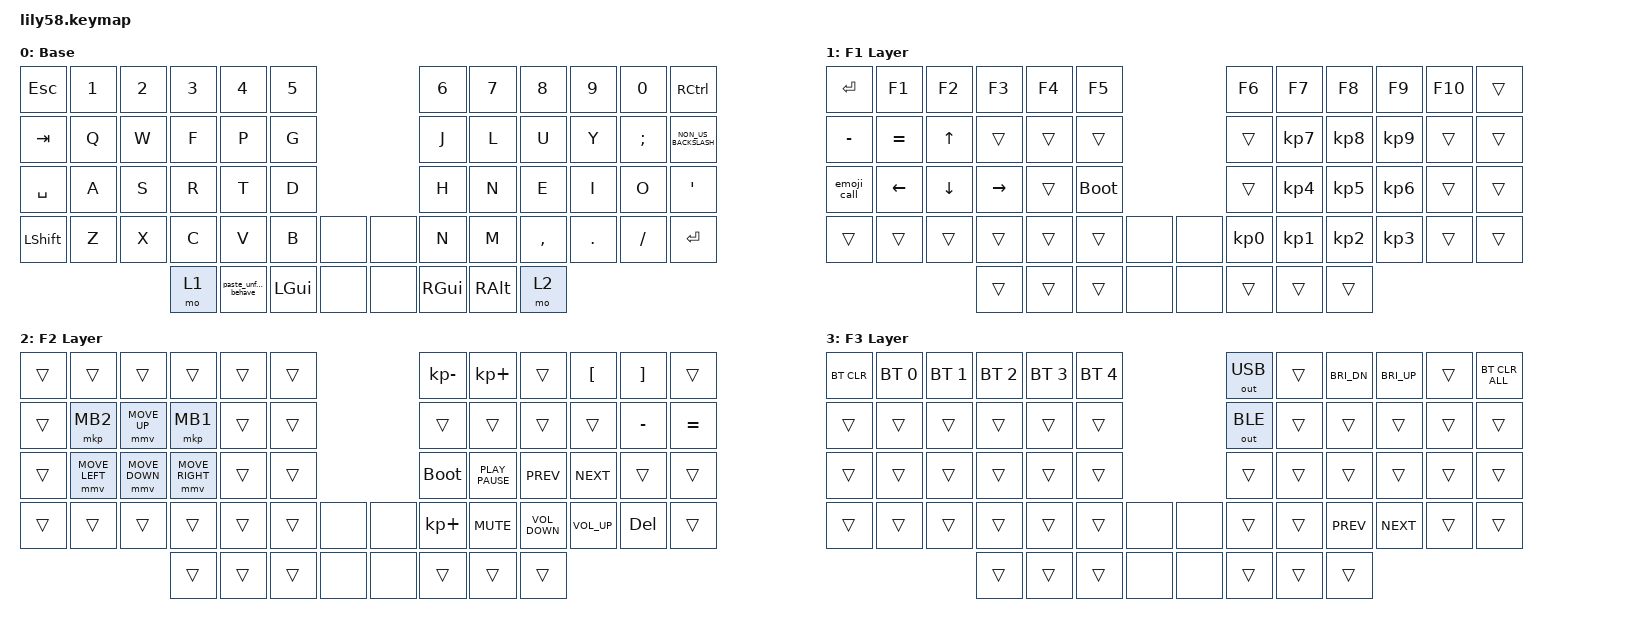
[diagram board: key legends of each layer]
/*
 * Copyright (c) 2020 The ZMK Contributors
 *
 * SPDX-License-Identifier: MIT
 */

#include <behaviors.dtsi>
#include <dt-bindings/zmk/bt.h>
#include <dt-bindings/zmk/keys.h>
#include <dt-bindings/zmk/outputs.h>
#include <dt-bindings/zmk/pointing.h>

/ {
    combos { compatible = "zmk,combos"; };

    macros {
        Paste_Unformat_Combo: Paste_Unformat_Combo {
            compatible = "zmk,behavior-macro";
            #binding-cells = <0>;
            bindings = <&kp LEFT_GUI &kp LEFT_ALT &kp LEFT_SHIFT &kp V>;
            label = "PASTE_UNFORMAT_COMBO";
        };

        emoji_call: emoji_call {
            compatible = "zmk,behavior-macro";
            #binding-cells = <0>;
            bindings = <&kp LEFT_GUI &kp LEFT_CONTROL &kp SPACE>;
            label = "EMOJI_CALL";
        };
    };

    behaviors {
        paste_unformat_behave: paste_unformat_behave {
            compatible = "zmk,behavior-tap-dance";
            label = "PASTE_UNFORMAT_BEHAVE";
            #binding-cells = <0>;
            bindings = <&kp LEFT_ALT>, <&kp LEFT_ALT>, <&Paste_Unformat_Combo>;
        };
    };

    keymap {
        compatible = "zmk,keymap";

        base_layer {
            // ------------------------------------------------------------------------------------------------------------
            // |  ESC  |  1  |  2  |  3   |  4   |  5   |                   |  6   |  7    |  8    |  9   |   0   |   `   |
            // |  TAB  |  Q  |  W  |  E   |  R   |  T   |                   |  Y   |  U    |  I    |  O   |   P   |   -   |
            // |  CTRL |  A  |  S  |  D   |  F   |  G   |                   |  H   |  J    |  K    |  L   |   ;   |   '   |
            // | SHIFT |  Z  |  X  |  C   |  V   |  B   |  n/a   |  |  n/a  |  N   |  M    |  ,    |  .   |   /   | SHIFT |
            //                     | GUI  | LOWER| SPACE|  n/a   |  |  n/a  | ENTER| RAISE | BSPC  |
            // Note: Silakka54 has 54 keys - the 4 positions marked n/a are not present (inner thumb + encoder positions)

            display-name = "Base";
            bindings = <
&kp ESC    &kp N1  &kp N2  &kp N3  &kp N4                  &kp N5                        &kp N6         &kp N7         &kp N8     &kp N9   &kp N0         &kp RIGHT_CONTROL
&kp TAB    &kp Q   &kp W   &kp F   &kp P                   &kp G                         &kp J          &kp L          &kp U      &kp Y    &kp SEMICOLON  &kp NON_US_BACKSLASH
&kp SPACE  &kp A   &kp S   &kp R   &kp T                   &kp D                         &kp H          &kp N          &kp E      &kp I    &kp O          &kp SQT
&kp LSHFT  &kp Z   &kp X   &kp C   &kp V                   &kp B         &none    &none  &kp N          &kp M          &kp COMMA  &kp DOT  &kp FSLH       &kp ENTER
                           &mo 1   &paste_unformat_behave  &kp LEFT_GUI  &none    &none  &kp RIGHT_GUI  &kp RIGHT_ALT  &mo 2
            >;
        };

        f1_layer {
            // ------------------------------------------------------------------------------------------------------------
            // | BTCLR | BT1 | BT2 |  BT3 |  BT4 |  BT5 |                   | USB  | BLE   |       |      |       |BTCLRALL|
            // |  F1   |  F2 |  F3 |  F4  |  F5  |  F6  |                   |  F7  |  F8   |  F9   |  F10 |  F11  |  F12  |
            // |   `   |  !  |  @  |  #   |  $   |  %   |                   |  ^   |  &    |  *    |  (   |   )   |   ~   |
            // |       |     |     |      |      |      |  n/a   |  |  n/a  |      |  _    |  +    |  {   |   }   |  "|"  |
            //                     |      |      |      |  n/a   |  |  n/a  |      |       |       |

            display-name = "F1 Layer";
            bindings = <
&kp ENTER    &kp F1          &kp F2          &kp F3           &kp F4  &kp F5                       &kp F6           &kp F7           &kp F8           &kp F9           &kp F10  &trans
&kp MINUS    &kp EQUAL       &kp UP_ARROW    &trans           &trans  &trans                       &trans           &kp KP_NUMBER_7  &kp KP_NUMBER_8  &kp KP_NUMBER_9  &trans   &trans
&emoji_call  &kp LEFT_ARROW  &kp DOWN_ARROW  &kp RIGHT_ARROW  &trans  &bootloader                  &trans           &kp KP_NUMBER_4  &kp KP_NUMBER_5  &kp KP_NUMBER_6  &trans   &trans
&trans       &trans          &trans          &trans           &trans  &trans       &none    &none  &kp KP_NUMBER_0  &kp KP_NUMBER_1  &kp KP_NUMBER_2  &kp KP_NUMBER_3  &trans   &trans
                                             &trans           &trans  &trans       &none    &none  &trans           &trans           &trans
            >;
        };

        f2_layer {
            // ------------------------------------------------------------------------------------------------------------
            // |       |     |     |      |      |      |                   |      |       |       |      |       |       |
            // |   `   |  1  |  2  |  3   |  4   |  5   |                   |  6   |   7   |   8   |  9   |   0   |       |
            // |   F1  |  F2 |  F3 |  F4  |  F5  |  F6  |                   |      |   <-  |   v   |  ^   |  ->   |       |
            // |   F7  |  F8 |  F9 |  F10 |  F11 |  F12 |  n/a   |  |  n/a  |  +   |   -   |   =   |  [   |   ]   |   \   |
            //                     |      |      |      |  n/a   |  |  n/a  |      |       |       |

            display-name = "F2 Layer";
            bindings = <
&trans  &trans          &trans          &trans           &trans  &trans                  &kp KP_MINUS  &kp KP_PLUS       &trans             &kp LEFT_BRACKET  &kp RIGHT_BRACKET  &trans
&trans  &mkp MB2        &mmv MOVE_UP    &mkp MB1         &trans  &trans                  &trans        &trans            &trans             &trans            &kp MINUS          &kp EQUAL
&trans  &mmv MOVE_LEFT  &mmv MOVE_DOWN  &mmv MOVE_RIGHT  &trans  &trans                  &bootloader   &kp K_PLAY_PAUSE  &kp K_PREV         &kp K_NEXT        &trans             &trans
&trans  &trans          &trans          &trans           &trans  &trans  &none    &none  &kp KP_PLUS   &kp K_MUTE        &kp K_VOLUME_DOWN  &kp K_VOL_UP      &kp DELETE         &trans
                                        &trans           &trans  &trans  &none    &none  &trans        &trans            &trans
            >;
        };

        f3_layer {
            bindings = <
&bt BT_CLR  &bt BT_SEL 0  &bt BT_SEL 1  &bt BT_SEL 2  &bt BT_SEL 3  &bt BT_SEL 4                  &out OUT_USB  &trans  &kp C_BRI_DN  &kp C_BRI_UP  &trans  &bt BT_CLR_ALL
&trans      &trans        &trans        &trans        &trans        &trans                        &out OUT_BLE  &trans  &trans        &trans        &trans  &trans
&trans      &trans        &trans        &trans        &trans        &trans                        &trans        &trans  &trans        &trans        &trans  &trans
&trans      &trans        &trans        &trans        &trans        &trans        &none    &none  &trans        &trans  &kp K_PREV    &kp K_NEXT    &trans  &trans
                                        &trans        &trans        &trans        &none    &none  &trans        &trans  &trans
            >;

            label = "F3 Layer";
        };
    };

    conditional_layers {
        compatible = "zmk,conditional-layers";

        f1+f2 {
            if-layers = <1 2>;
            then-layer = <3>;
        };
    };
};
